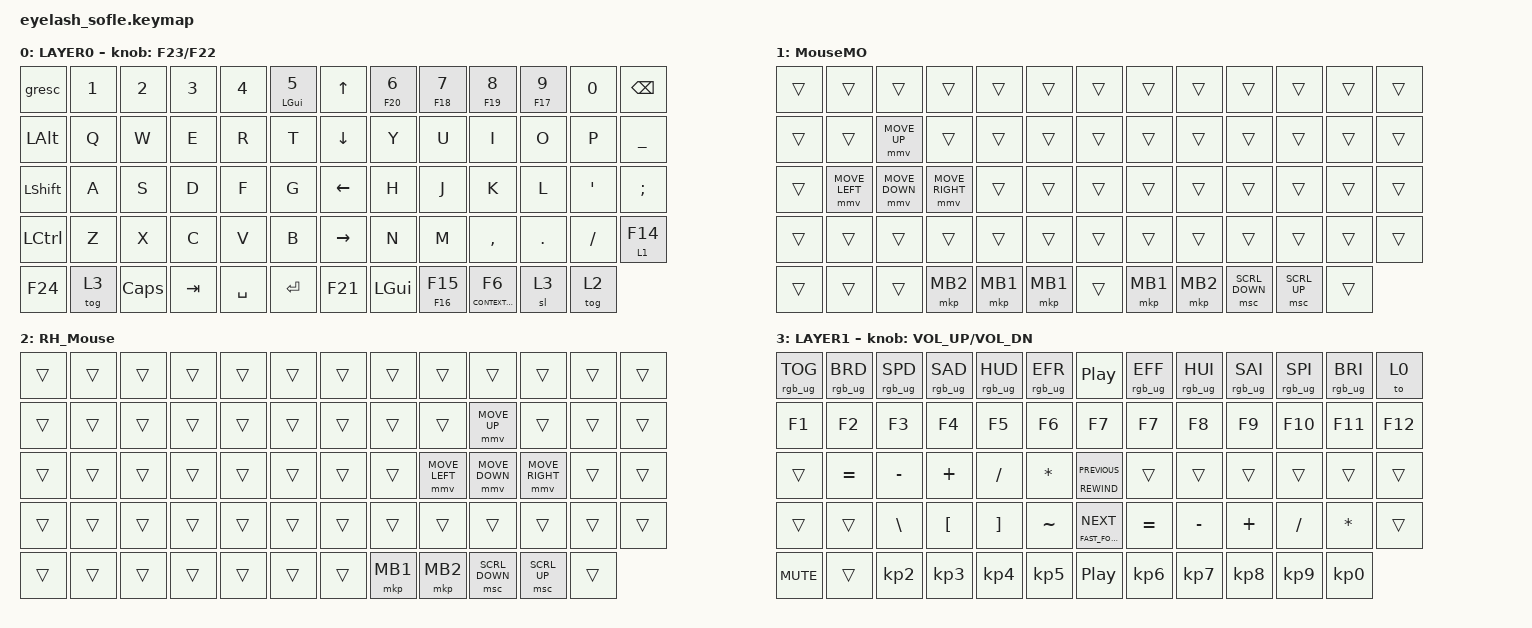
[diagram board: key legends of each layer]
#define ZMK_POINTING_DEFAULT_MOVE_VAL 1200  // 600
#define ZMK_POINTING_DEFAULT_SCRL_VAL 25   // 10

#include <input/processors.dtsi>
#include <zephyr/dt-bindings/input/input-event-codes.h>
#include <behaviors.dtsi>
#include <dt-bindings/zmk/keys.h>
#include <dt-bindings/zmk/pointing.h>
#include <dt-bindings/zmk/rgb.h>

&mmv_input_listener { input-processors = <&zip_xy_scaler 2 1>; };

&msc_input_listener { input-processors = <&zip_scroll_scaler 2 1>; };

&msc {
    acceleration-exponent = <1>;      // 0
    time-to-max-speed-ms = <100>;       // 300
    delay-ms = <0>;                   // 0
};

&mmv {
    time-to-max-speed-ms = <500>;
    acceleration-exponent = <1>;
    trigger-period-ms = <16>;
};

&soft_off { hold-time-ms = <2000>; };

/ {
    scroll_encoder: scroll_encoder {
        compatible = "zmk,behavior-sensor-rotate";
        #sensor-binding-cells = <0>;
        bindings = <&msc SCRL_DOWN>, <&msc SCRL_UP>;

        tap-ms = <100>;
    };

    behaviors {
    };

    combos {
        compatible = "zmk,combos";

        softoff {
            bindings = <&soft_off>;
            key-positions = <14 28 40>;
        };

        delete {
            bindings = <&kp DELETE>;
            key-positions = <1 15>;
        };
    };

    macros {
        SHIFT_MCLK: SHIFT_MCLK {
            compatible = "zmk,behavior-macro";
            #binding-cells = <0>;
            bindings =
                <&macro_press>,
                <&kp LEFT_SHIFT>,
                <&macro_press>,
                <&mkp MB3>,
                <&macro_pause_for_release>,
                <&macro_release>,
                <&kp LEFT_SHIFT &mkp MB3>;

            label = "SHIFT_MCLK";
        };

        glaze_max: glaze_max {
            compatible = "zmk,behavior-macro";
            #binding-cells = <0>;
            bindings = <&kp LEFT_ALT &kp F>;
            label = "GLAZE_MAX";
        };

        glaze_min: glaze_min {
            compatible = "zmk,behavior-macro";
            #binding-cells = <0>;
            bindings = <&kp LEFT_ALT &kp M>;
            label = "GLAZE_MIN";
        };

        alwaysontop: alwaysontop {
            compatible = "zmk,behavior-macro";
            #binding-cells = <0>;
            bindings = <&kp LCTRL &kp LEFT_GUI &kp T>;
            label = "ALWAYSONTOP";
        };

        taskview: taskview {
            compatible = "zmk,behavior-macro";
            #binding-cells = <0>;
            bindings = <&kp LEFT_GUI &kp TAB>;
            label = "TASKVIEW";
        };

        glaze_toggle: glaze_toggle {
            compatible = "zmk,behavior-macro";
            #binding-cells = <0>;
            bindings = <&kp LEFT_ALT &kp T>;
            label = "GLAZE_TOGGLE";
        };
    };

    keymap {
        compatible = "zmk,keymap";

        layer0 {
            bindings = <
&gresc          &kp N1  &kp N2        &kp N3   &kp N4     &mt LGUI N5    &kp UP_ARROW     &mt F20 N6    &mt F18 NUMBER_7  &mt F19 N8             &mt F17 N9  &kp N0            &kp BACKSPACE
&kp LEFT_ALT    &kp Q   &kp W         &kp E    &kp R      &kp T          &kp DOWN_ARROW   &kp Y         &kp U             &kp I                  &kp O       &kp P             &kp UNDER
&kp LEFT_SHIFT  &kp A   &kp S         &kp D    &kp F      &kp G          &kp LEFT_ARROW   &kp H         &kp J             &kp K                  &kp L       &kp SINGLE_QUOTE  &kp SEMI
&kp LCTRL       &kp Z   &kp X         &kp C    &kp V      &kp B          &kp RIGHT_ARROW  &kp N         &kp M             &kp COMMA              &kp DOT     &kp FSLH          &lt 1 F14
&kp F24         &tog 3  &kp CAPSLOCK  &kp TAB  &kp SPACE  &kp ENTER      &kp F21          &kp LEFT_GUI  &mt F16 F15       &mt K_CONTEXT_MENU F6  &sl 3       &tog 2
            >;

            sensor-bindings = <&inc_dec_kp F23 F22>;
            display-name = "LAYER0";
        };

        MouseMO {
            bindings = <
&trans  &trans          &trans          &trans           &trans    &trans      &trans  &trans    &trans    &trans          &trans        &trans  &trans
&trans  &trans          &mmv MOVE_UP    &trans           &trans    &trans      &trans  &trans    &trans    &trans          &trans        &trans  &trans
&trans  &mmv MOVE_LEFT  &mmv MOVE_DOWN  &mmv MOVE_RIGHT  &trans    &trans      &trans  &trans    &trans    &trans          &trans        &trans  &trans
&trans  &trans          &trans          &trans           &trans    &trans      &trans  &trans    &trans    &trans          &trans        &trans  &trans
&trans  &trans          &trans          &mkp MB2         &mkp MB1  &mkp MB1    &trans  &mkp MB1  &mkp MB2  &msc SCRL_DOWN  &msc SCRL_UP  &trans
            >;
        };

        RH_Mouse {
            bindings = <
&trans  &trans  &trans  &trans  &trans  &trans    &trans  &trans    &trans          &trans          &trans           &trans  &trans
&trans  &trans  &trans  &trans  &trans  &trans    &trans  &trans    &trans          &mmv MOVE_UP    &trans           &trans  &trans
&trans  &trans  &trans  &trans  &trans  &trans    &trans  &trans    &mmv MOVE_LEFT  &mmv MOVE_DOWN  &mmv MOVE_RIGHT  &trans  &trans
&trans  &trans  &trans  &trans  &trans  &trans    &trans  &trans    &trans          &trans          &trans           &trans  &trans
&trans  &trans  &trans  &trans  &trans  &trans    &trans  &mkp MB1  &mkp MB2        &msc SCRL_DOWN  &msc SCRL_UP     &trans
            >;
        };

        RGBF12Extra {
            bindings = <
&rgb_ug RGB_TOG  &rgb_ug RGB_BRD  &rgb_ug RGB_SPD  &rgb_ug RGB_SAD   &rgb_ug RGB_HUD  &rgb_ug RGB_EFR    &kp C_PLAY_PAUSE           &rgb_ug RGB_EFF  &rgb_ug RGB_HUI  &rgb_ug RGB_SAI  &rgb_ug RGB_SPI  &rgb_ug RGB_BRI  &to 0
&kp F1           &kp F2           &kp F3           &kp F4            &kp F5           &kp F6             &kp F7                     &kp F7           &kp F8           &kp F9           &kp F10          &kp F11          &kp F12
&trans           &kp EQUAL        &kp MINUS        &kp PLUS          &kp SLASH        &kp ASTERISK       &mt C_REWIND C_PREVIOUS    &trans           &trans           &trans           &trans           &trans           &trans
&trans           &trans           &kp BSLH         &kp LEFT_BRACKET  &kp RBKT         &kp TILDE          &mt C_FAST_FORWARD C_NEXT  &kp EQUAL        &kp MINUS        &kp PLUS         &kp FSLH         &kp STAR         &trans
&kp C_MUTE       &trans           &kp KP_NUMBER_2  &kp KP_NUMBER_3   &kp KP_NUMBER_4  &kp KP_NUMBER_5    &kp C_PLAY_PAUSE           &kp KP_NUMBER_6  &kp KP_NUMBER_7  &kp KP_NUMBER_8  &kp KP_NUMBER_9  &kp KP_NUMBER_0
            >;

            sensor-bindings = <&inc_dec_kp C_VOLUME_UP C_VOL_DN>;
            display-name = "LAYER1";
        };
    };
};
